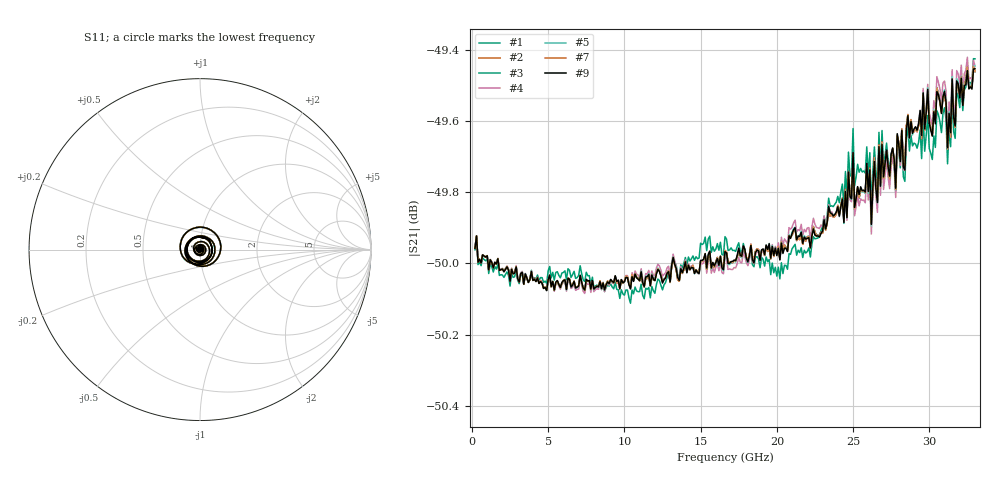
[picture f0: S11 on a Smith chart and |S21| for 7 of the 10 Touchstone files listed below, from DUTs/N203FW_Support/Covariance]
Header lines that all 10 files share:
# GHZ S RI R 50
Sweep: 200 MHz to 33 GHz
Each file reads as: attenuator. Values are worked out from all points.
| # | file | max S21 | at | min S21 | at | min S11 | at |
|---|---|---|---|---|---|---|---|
| 1 | N203FW_1.s2p | -49.45 dB | 32.5 GHz | -50.1 dB | 7.4 GHz | -47.6 dB | 2.3 GHz |
| 2 | N203FW_2.s2p | -49.45 dB | 32.5 GHz | -50.1 dB | 7.4 GHz | -47.5 dB | 2.3 GHz |
| 3 | N203FW_3.s2p | -49.42 dB | 32.9 GHz | -50.1 dB | 10.4 GHz | -47.9 dB | 2.5 GHz |
| 4 | N203FW_4.s2p | -49.42 dB | 32.5 GHz | -50.1 dB | 7.4 GHz | -47.6 dB | 2.3 GHz |
| 5 | N203FW_7.s2p | -49.44 dB | 33 GHz | -50.1 dB | 4.9 GHz | -47.5 dB | 2.3 GHz |
| 6 | N203FW_8.s2p | -49.44 dB | 33 GHz | -50.1 dB | 4.9 GHz | -47.5 dB | 2.3 GHz |
| 7 | N203FW_11.s2p | -49.45 dB | 32.9 GHz | -50.1 dB | 7.4 GHz | -47.6 dB | 2.3 GHz |
| 8 | N203FW_13.s2p | -49.45 dB | 32.5 GHz | -50.1 dB | 7.4 GHz | -47.5 dB | 2.3 GHz |
| 9 | N203FW_14.s2p | -49.45 dB | 33 GHz | -50.1 dB | 4.9 GHz | -47.5 dB | 2.3 GHz |
| 10 | N203FW_15.s2p | -49.45 dB | 32.5 GHz | -50.1 dB | 7.4 GHz | -47.6 dB | 2.3 GHz |
